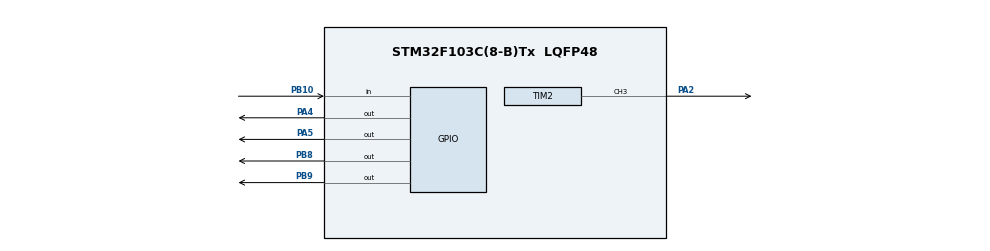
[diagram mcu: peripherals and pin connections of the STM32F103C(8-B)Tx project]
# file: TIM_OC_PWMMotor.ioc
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Mcu.Family=STM32F1
Mcu.Name=STM32F103C(8-B)Tx
Mcu.Package=LQFP48
NVIC.PriorityGroup=NVIC_PRIORITYGROUP_4
PA13.Mode=Serial_Wire
PA13.Signal=SYS_JTMS-SWDIO
PA14.Mode=Serial_Wire
PA14.Signal=SYS_JTCK-SWCLK
PA2.Signal=S_TIM2_CH3
PA4.Signal=GPIO_Output
PA5.Signal=GPIO_Output
PB10.GPIO_PuPd=GPIO_PULLUP
PB10.Signal=GPIO_Input
PB8.GPIO_ModeDefaultOutputPP=GPIO_MODE_OUTPUT_OD
PB8.GPIO_PuPd=GPIO_NOPULL
PB8.Signal=GPIO_Output
PB9.GPIO_ModeDefaultOutputPP=GPIO_MODE_OUTPUT_OD
PB9.GPIO_PuPd=GPIO_NOPULL
PB9.Signal=GPIO_Output
PD0-OSC_IN.Mode=HSE-External-Oscillator
PD0-OSC_IN.Signal=RCC_OSC_IN
PD1-OSC_OUT.Mode=HSE-External-Oscillator
PD1-OSC_OUT.Signal=RCC_OSC_OUT
ProjectManager.HeapSize=0x200
ProjectManager.StackSize=0x400
ProjectManager.TargetToolchain=STM32CubeIDE
RCC.APB1Freq_Value=8000000
RCC.APB2Freq_Value=8000000
SH.S_TIM2_CH3.0=TIM2_CH3,PWM Generation3 CH3
TIM2.Channel-PWM\ Generation3\ CH3=TIM_CHANNEL_3
TIM2.Period=99
TIM2.Prescaler=35
VP_TIM2_VS_ClockSourceINT.Mode=Internal
board=custom

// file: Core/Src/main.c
/* USER CODE BEGIN Header */
/**
  ******************************************************************************
  * @file           : main.c
  * @brief          : Main program body
  ******************************************************************************
  * @attention
  *
  * Copyright (c) 2026 STMicroelectronics.
  * All rights reserved.
  *
  * This software is licensed under terms that can be found in the LICENSE file
  * in the root directory of this software component.
  * If no LICENSE file comes with this software, it is provided AS-IS.
  *
  ******************************************************************************
  */
/* USER CODE END Header */
#include "main.h"
#include "tim.h"
#include "gpio.h"

/* USER CODE BEGIN Includes */
#include "OLED.h"
#include "Key.h"
/* USER CODE END Includes */

void SystemClock_Config(void);

/* USER CODE BEGIN 0 */
void Set_Speed(int16_t speed)
{
	if(speed>=0)
	{
		HAL_GPIO_WritePin(GPIOA, GPIO_PIN_4, GPIO_PIN_SET);
		HAL_GPIO_WritePin(GPIOA, GPIO_PIN_5, GPIO_PIN_RESET);
		__HAL_TIM_SET_COMPARE(&htim2,TIM_CHANNEL_3,speed);
	}
	if(speed<0)
		{
			HAL_GPIO_WritePin(GPIOA, GPIO_PIN_4, GPIO_PIN_RESET);
			HAL_GPIO_WritePin(GPIOA, GPIO_PIN_5, GPIO_PIN_SET);
			__HAL_TIM_SET_COMPARE(&htim2,TIM_CHANNEL_3,-speed);
		}
}
/* USER CODE END 0 */

int main(void)
{

  /* MCU Configuration--------------------------------------------------------*/

  /* Reset of all peripherals, Initializes the Flash interface and the Systick. */
  HAL_Init();

  /* USER CODE BEGIN Init */
  OLED_Init();
  /* USER CODE END Init */

  /* Configure the system clock */
  SystemClock_Config();

  /* Initialize all configured peripherals */
  MX_GPIO_Init();
  MX_TIM2_Init();
  /* USER CODE BEGIN 2 */
  HAL_TIM_PWM_Start(&htim2, TIM_CHANNEL_3);
  OLED_ShowString(1,1,"Speed:");
  int16_t speed=0;
  /* USER CODE END 2 */

  /* Infinite loop */
  /* USER CODE BEGIN WHILE */
  while (1)
  {
	  if(Key_GetNum()==3)
	  {
		  if(speed<100)
		  {
			  speed+=20;
			  Set_Speed(speed);
			  OLED_ShowSignedNum(1,7,speed,3);

		  }
		  else
		  {
			  speed=-100;
			  Set_Speed(speed);
			  OLED_ShowSignedNum(1,7,speed,3);
		  }
	  }
    /* USER CODE END WHILE */

  }
}

void SystemClock_Config(void)
{
  RCC_OscInitTypeDef RCC_OscInitStruct = {0};
  RCC_ClkInitTypeDef RCC_ClkInitStruct = {0};

  /** Initializes the RCC Oscillators according to the specified parameters
  * in the RCC_OscInitTypeDef structure.
  */
  RCC_OscInitStruct.OscillatorType = RCC_OSCILLATORTYPE_HSI;
  RCC_OscInitStruct.HSIState = RCC_HSI_ON;
  RCC_OscInitStruct.HSICalibrationValue = RCC_HSICALIBRATION_DEFAULT;
  RCC_OscInitStruct.PLL.PLLState = RCC_PLL_NONE;
  if (HAL_RCC_OscConfig(&RCC_OscInitStruct) != HAL_OK)
  {
    Error_Handler();
  }

  /** Initializes the CPU, AHB and APB buses clocks
  */
  RCC_ClkInitStruct.ClockType = RCC_CLOCKTYPE_HCLK|RCC_CLOCKTYPE_SYSCLK
                              |RCC_CLOCKTYPE_PCLK1|RCC_CLOCKTYPE_PCLK2;
  RCC_ClkInitStruct.SYSCLKSource = RCC_SYSCLKSOURCE_HSI;
  RCC_ClkInitStruct.AHBCLKDivider = RCC_SYSCLK_DIV1;
  RCC_ClkInitStruct.APB1CLKDivider = RCC_HCLK_DIV1;
  RCC_ClkInitStruct.APB2CLKDivider = RCC_HCLK_DIV1;

  if (HAL_RCC_ClockConfig(&RCC_ClkInitStruct, FLASH_LATENCY_0) != HAL_OK)
  {
    Error_Handler();
  }
}

void Error_Handler(void)
{
  __disable_irq();
  while (1)
  {
  }
}
